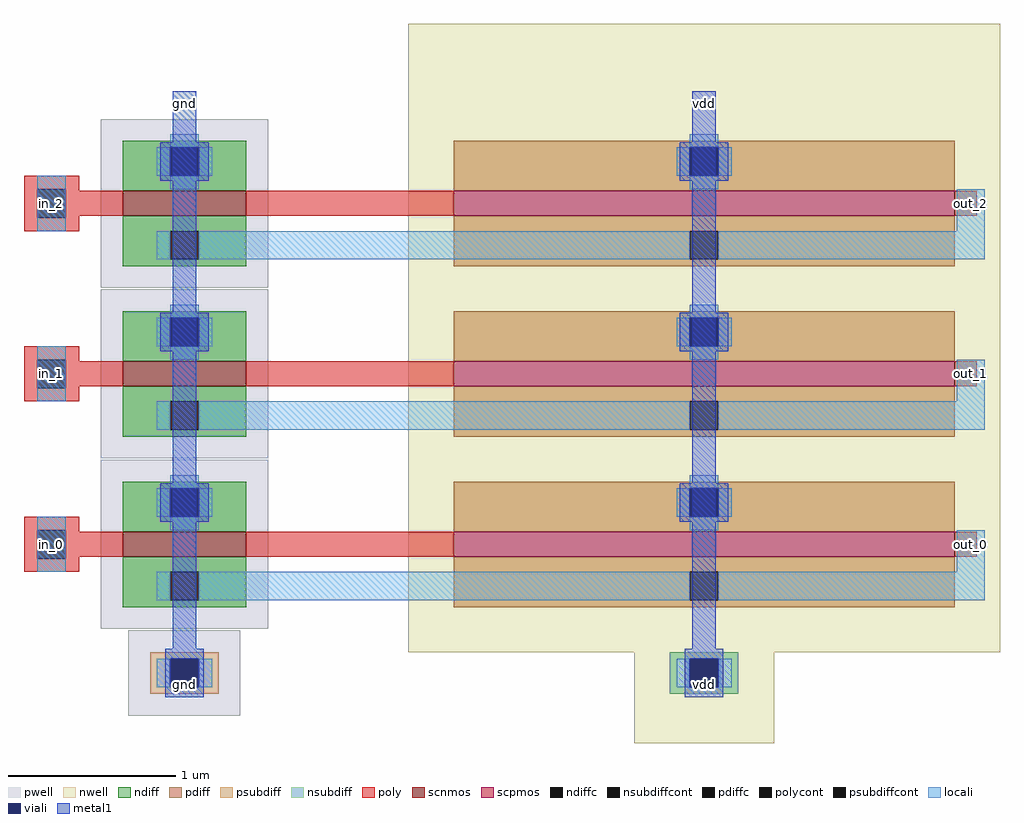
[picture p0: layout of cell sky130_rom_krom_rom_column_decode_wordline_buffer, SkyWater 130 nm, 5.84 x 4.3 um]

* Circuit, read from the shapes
.subckt sky130_rom_krom_rom_column_decode_wordline_buffer in_0 out_0 in_1 out_1 in_2 out_2 gnd vdd
XM1 gnd in_0 out_0 gnd sky130_fd_pr__nfet_01v8 w=0.74 l=0.15
XM2 gnd in_1 out_1 gnd sky130_fd_pr__nfet_01v8 w=0.74 l=0.15
XM3 gnd in_2 out_2 gnd sky130_fd_pr__nfet_01v8 w=0.74 l=0.15
XM4 vdd in_0 out_0 vdd sky130_fd_pr__pfet_01v8 w=3 l=0.15
XM5 vdd in_1 out_1 vdd sky130_fd_pr__pfet_01v8 w=3 l=0.15
XM6 vdd in_2 out_2 vdd sky130_fd_pr__pfet_01v8 w=3 l=0.15
.ends

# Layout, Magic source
magic
tech sky130A
magscale 1 2
<< nwell >>
rect 774 -50 942 118
<< pwell >>
rect 169 -17 303 85
<< psubdiff >>
rect 195 51 277 59
rect 195 17 219 51
rect 253 17 277 51
rect 195 9 277 17
<< nsubdiff >>
rect 817 51 899 59
rect 817 17 841 51
rect 875 17 899 51
rect 817 9 899 17
<< psubdiffcont >>
rect 219 17 253 51
<< nsubdiffcont >>
rect 841 17 875 51
<< locali >>
rect 60 563 94 629
rect 1160 546 1194 613
rect 60 359 94 425
rect 1160 342 1194 409
rect 60 155 94 221
rect 1160 138 1194 205
rect 203 17 219 51
rect 253 17 269 51
rect 825 17 841 51
rect 875 17 891 51
<< viali >>
rect 219 17 253 51
rect 841 17 875 51
<< metal1 >>
rect 222 63 250 730
rect 844 63 872 730
rect 213 51 259 63
rect 213 17 219 51
rect 253 17 259 51
rect 213 5 259 17
rect 835 51 881 63
rect 835 17 841 51
rect 875 17 881 51
rect 835 5 881 17
use sky130_rom_krom_pinv_dec_2  sky130_rom_krom_pinv_dec_2_0
transform 1 0 0 0 1 512
box 44 -50 1212 299
use sky130_rom_krom_pinv_dec_2  sky130_rom_krom_pinv_dec_2_1
transform 1 0 0 0 1 308
box 44 -50 1212 299
use sky130_rom_krom_pinv_dec_2  sky130_rom_krom_pinv_dec_2_2
transform 1 0 0 0 1 104
box 44 -50 1212 299
<< labels >>
rlabel locali s 77 188 77 188 4 in_0
port 2 nsew
rlabel locali s 1177 188 1177 188 4 out_0
port 3 nsew
rlabel locali s 77 392 77 392 4 in_1
port 4 nsew
rlabel locali s 1177 392 1177 392 4 out_1
port 5 nsew
rlabel locali s 77 596 77 596 4 in_2
port 6 nsew
rlabel locali s 1177 596 1177 596 4 out_2
port 7 nsew
rlabel metal1 s 222 6 250 34 4 gnd
port 9 nsew
rlabel metal1 s 222 702 250 730 4 gnd
port 9 nsew
rlabel metal1 s 844 702 872 730 4 vdd
port 11 nsew
rlabel metal1 s 844 6 872 34 4 vdd
port 11 nsew
<< properties >>
string FIXED_BBOX 774 -50 942 0
<< end >>

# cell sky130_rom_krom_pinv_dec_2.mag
magic
tech sky130A
magscale 1 2
<< nwell >>
rect 504 -45 1212 299
rect 774 -50 942 -45
<< pwell >>
rect 136 -17 336 185
<< scnmos >>
rect 162 69 310 99
<< scpmos >>
rect 558 69 1158 99
<< ndiff >>
rect 162 151 310 159
rect 162 117 219 151
rect 253 117 310 151
rect 162 99 310 117
rect 162 51 310 69
rect 162 17 219 51
rect 253 17 310 51
rect 162 9 310 17
<< pdiff >>
rect 558 151 1158 159
rect 558 117 841 151
rect 875 117 1158 151
rect 558 99 1158 117
rect 558 51 1158 69
rect 558 17 841 51
rect 875 17 1158 51
rect 558 9 1158 17
<< ndiffc >>
rect 219 117 253 151
rect 219 17 253 51
<< pdiffc >>
rect 841 117 875 151
rect 841 17 875 51
<< poly >>
rect 44 101 110 117
rect 44 67 60 101
rect 94 99 110 101
rect 94 69 162 99
rect 310 69 558 99
rect 1158 69 1184 99
rect 94 67 110 69
rect 44 51 110 67
<< polycont >>
rect 60 67 94 101
<< locali >>
rect 219 151 253 167
rect 841 151 875 167
rect 203 117 219 151
rect 253 117 269 151
rect 825 117 841 151
rect 875 117 891 151
rect 60 101 94 117
rect 219 101 253 117
rect 841 101 875 117
rect 60 51 94 67
rect 203 17 219 51
rect 253 17 841 51
rect 875 17 1194 51
<< viali >>
rect 219 117 253 151
rect 841 117 875 151
<< metal1 >>
rect 222 157 250 204
rect 844 157 872 204
rect 207 151 265 157
rect 207 117 219 151
rect 253 117 265 151
rect 207 111 265 117
rect 829 151 887 157
rect 829 117 841 151
rect 875 117 887 151
rect 829 111 887 117
rect 222 0 250 111
rect 844 0 872 111
<< labels >>
rlabel locali s 77 84 77 84 4 A
port 2 nsew
rlabel locali s 698 34 698 34 4 Z
port 3 nsew
rlabel metal1 s 222 0 250 204 4 gnd
port 5 nsew
rlabel metal1 s 844 0 872 204 4 vdd
port 7 nsew
<< properties >>
string FIXED_BBOX 774 -50 942 -45
<< end >>
